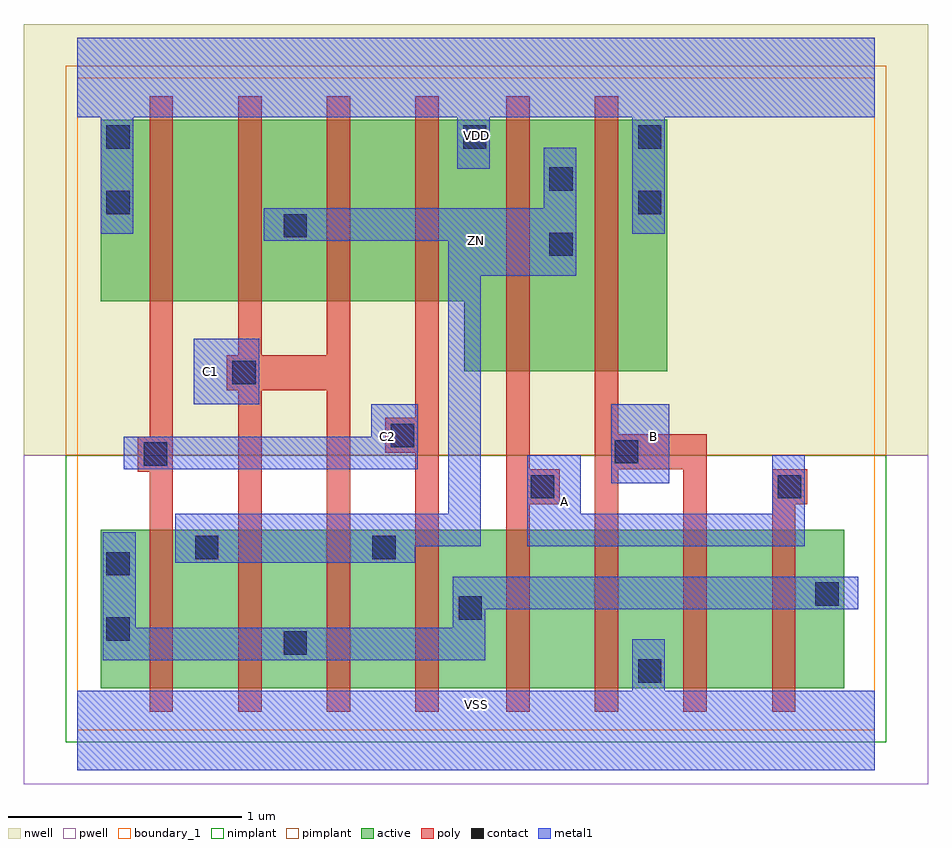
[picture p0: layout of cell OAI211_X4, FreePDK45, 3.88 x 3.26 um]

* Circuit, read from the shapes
.subckt OAI211_X4 A B C1 C2 VDD VSS ZN
M1 ZN C2 n1 VSUBS nfet w=0.68u l=0.1u m=2
M2 n1 C1 ZN VSUBS nfet w=0.68u l=0.1u m=2
M3 n2 A n1 VSUBS nfet w=0.68u l=0.1u
M4 VSS B n2 VSUBS nfet w=0.68u l=0.1u
M5 n3 B VSS VSUBS nfet w=0.68u l=0.1u
M6 n1 A n3 VSUBS nfet w=0.68u l=0.1u
M7 n4 C2 VDD n5 pfet w=0.78u l=0.1u
M8 ZN C1 n4 n5 pfet w=0.78u l=0.1u
M9 n6 C1 ZN n5 pfet w=0.78u l=0.1u
M10 VDD C2 n6 n5 pfet w=0.78u l=0.1u
M11 ZN A VDD n5 pfet w=1.08u l=0.1u
M12 VDD B ZN n5 pfet w=1.08u l=0.1u
.ends

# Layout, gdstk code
import gdstk
lib = gdstk.Library(unit=1e-6, precision=1e-09)
def R(c, l, rs):  # rectangles x0, y0, x1, y1
    for r in rs: c.add(gdstk.rectangle(r[:2], r[2:], *l))
def P(c, l, *ps):  # polygons
    for p in ps: c.add(gdstk.Polygon(p, *l))
active = (1, 0)
pwell = (2, 0)
nwell = (3, 0)
nimplant = (4, 0)
pimplant = (5, 0)
poly = (9, 0)
contact = (10, 0)
metal1 = (11, 0)
boundary_1 = (235, 1)

oai211_x4 = lib.new_cell('OAI211_X4')
R(oai211_x4, active, [(0.1,0.18,3.29,0.86)])
P(oai211_x4, active, [(0.1,1.84),(1.66,1.84),(1.66,1.54),(2.53,1.54),(2.53,2.62),(0.1,2.62)])
R(oai211_x4, pwell, [(-0.23,-0.23,3.65,1.18)])
R(oai211_x4, nwell, [(-0.23,1.18,3.65,3.03)])
R(oai211_x4, nimplant, [(-0.05,-0.05,3.47,1.18)])
R(oai211_x4, pimplant, [(-0.05,1.18,3.47,2.85)])
P(oai211_x4, poly, [(2.98,0.08),(3.08,0.08),(3.08,0.97),(3.13,0.97),(3.13,1.12),(2.98,1.12)],
  [(2.22,0.08),(2.32,0.08),(2.32,1.12),(2.6,1.12),(2.6,0.08),(2.7,0.08),(2.7,1.27),(2.32,1.27),(2.32,2.72),(2.22,2.72)],
  [(1.84,0.08),(1.94,0.08),(1.94,0.97),(2.07,0.97),(2.07,1.12),(1.94,1.12),(1.94,2.72),(1.84,2.72)],
  [(1.32,1.19),(1.45,1.19),(1.45,0.08),(1.55,0.08),(1.55,2.72),(1.45,2.72),(1.45,1.34),(1.32,1.34)],
  [(0.64,1.46),(0.69,1.46),(0.69,0.08),(0.79,0.08),(0.79,1.46),(1.07,1.46),(1.07,0.08),(1.17,0.08),(1.17,2.72),(1.07,2.72),(1.07,1.61),(0.79,1.61),(0.79,2.72),(0.69,2.72),(0.69,1.61),(0.64,1.61)],
  [(0.26,1.11),(0.31,1.11),(0.31,0.08),(0.41,0.08),(0.41,2.72),(0.31,2.72),(0.31,1.26),(0.26,1.26)])
R(oai211_x4, contact, [(2.405,0.205,2.505,0.305), (0.885,0.325,0.985,0.425), (0.125,0.385,0.225,0.485), (1.635,0.475,1.735,0.575), (3.165,0.535,3.265,0.635), (0.125,0.665,0.225,0.765), (0.505,0.735,0.605,0.835), (1.265,0.735,1.365,0.835), (1.945,0.995,2.045,1.095), (3.005,0.995,3.105,1.095), (0.285,1.135,0.385,1.235), (2.305,1.145,2.405,1.245), (1.345,1.215,1.445,1.315), (0.665,1.485,0.765,1.585), (2.025,2.035,2.125,2.135), (0.885,2.115,0.985,2.215), (0.125,2.215,0.225,2.315), (2.405,2.215,2.505,2.315), (2.025,2.315,2.125,2.415), (0.125,2.495,0.225,2.595), (1.655,2.495,1.755,2.595), (2.405,2.495,2.505,2.595)])
R(oai211_x4, metal1, [(2.29,1.06,2.54,1.4), (2.29,1.06,2.54,1.4), (0.5,1.4,0.78,1.68), (0.5,1.4,0.78,1.68)])
P(oai211_x4, metal1, [(0.2,1.12),(1.46,1.12),(1.46,1.4),(1.26,1.4),(1.26,1.26),(0.2,1.26)],
  [(0.8,2.1),(1.59,2.1),(1.59,0.93),(0.42,0.93),(0.42,0.72),(1.45,0.72),(1.45,0.79),(1.73,0.79),(1.73,1.95),(2.14,1.95),(2.14,2.5),(2,2.5),(2,2.24),(0.8,2.24)],
  [(0,-0.17),(3.42,-0.17),(3.42,0.17),(2.52,0.17),(2.52,0.39),(2.38,0.39),(2.38,0.17),(0,0.17)],
  [(0,2.63),(0.1,2.63),(0.1,2.13),(0.24,2.13),(0.24,2.63),(1.63,2.63),(1.63,2.41),(1.77,2.41),(1.77,2.63),(2.38,2.63),(2.38,2.13),(2.52,2.13),(2.52,2.63),(3.42,2.63),(3.42,2.97),(0,2.97)],
  [(1.93,0.79),(3.12,0.79),(3.12,1.18),(2.98,1.18),(2.98,0.93),(2.16,0.93),(2.16,1.18),(1.93,1.18)],
  [(0,2.63),(0.1,2.63),(0.1,2.13),(0.24,2.13),(0.24,2.63),(1.63,2.63),(1.63,2.41),(1.77,2.41),(1.77,2.63),(2.38,2.63),(2.38,2.13),(2.52,2.13),(2.52,2.63),(3.42,2.63),(3.42,2.97),(0,2.97)],
  [(0,-0.17),(3.42,-0.17),(3.42,0.17),(2.52,0.17),(2.52,0.39),(2.38,0.39),(2.38,0.17),(0,0.17)],
  [(0.11,0.3),(1.75,0.3),(1.75,0.52),(3.35,0.52),(3.35,0.66),(1.61,0.66),(1.61,0.44),(0.25,0.44),(0.25,0.85),(0.11,0.85)],
  [(1.93,0.79),(3.12,0.79),(3.12,1.18),(2.98,1.18),(2.98,0.93),(2.16,0.93),(2.16,1.18),(1.93,1.18)],
  [(0.8,2.1),(1.59,2.1),(1.59,0.93),(0.42,0.93),(0.42,0.72),(1.45,0.72),(1.45,0.79),(1.73,0.79),(1.73,1.95),(2.14,1.95),(2.14,2.5),(2,2.5),(2,2.24),(0.8,2.24)],
  [(0.2,1.12),(1.46,1.12),(1.46,1.4),(1.26,1.4),(1.26,1.26),(0.2,1.26)])
R(oai211_x4, boundary_1, [(0,0,3.42,2.8)])
oai211_x4.add(gdstk.Label('ZN', (1.71,2.1), layer=11, texttype=0))
oai211_x4.add(gdstk.Label('VSS', (1.71,0.11), layer=11, texttype=0))
oai211_x4.add(gdstk.Label('VDD', (1.71,2.55), layer=11, texttype=0))
oai211_x4.add(gdstk.Label('C2', (1.33,1.26), layer=11, texttype=0))
oai211_x4.add(gdstk.Label('C1', (0.57,1.54), layer=11, texttype=0))
oai211_x4.add(gdstk.Label('B', (2.47,1.26), layer=11, texttype=0))
oai211_x4.add(gdstk.Label('A', (2.09,0.98), layer=11, texttype=0))

lib.write_gds('OAI211_X4.gds')
